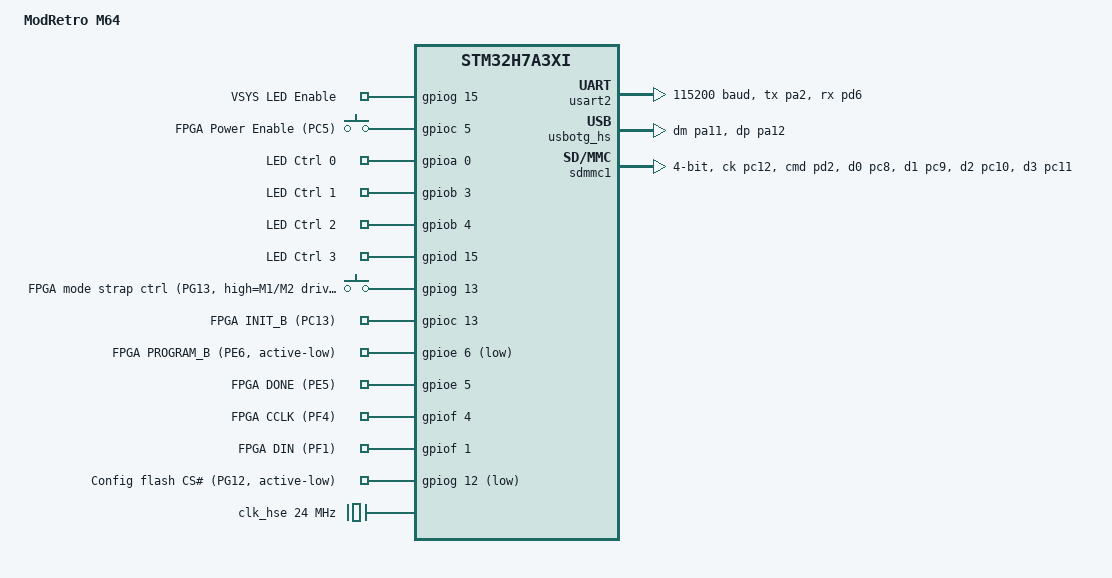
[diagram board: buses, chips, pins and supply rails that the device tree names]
/*
 * SPDX-License-Identifier: Apache-2.0
 *
 * ModRetro M64 board devicetree.
 * SoC: STM32H7A3ZIT6 (LQFP144).
 *
 */

/dts-v1/;

/* Base SoC devicetree for the STM32H7A3xI (2 MB flash) family. */
#include <st/h7/stm32h7a3Xi.dtsi>
/* Pin control definitions for the ZI (LQFP144) package.
 * Non-Q (without-SMPS) variant: this is the STM32H7A3ZIT6 pinout that exposes
 * PF0-PF15 and PG0-PG15 (the SMPS supply pins are reassigned as GPIO.)
 */
#include <st/h7/stm32h7a3z(g-i)tx-pinctrl.dtsi>

#include <zephyr/dt-bindings/gpio/gpio.h>
#include <zephyr/dt-bindings/input/input-event-codes.h>

/ {
	model = "ModRetro M64";
	compatible = "modretro,m64";

	chosen {
		/*
		 * Primary console (printk, logs, boot banner, faults) on the
		 * USB CDC-ACM port. USART2 remains available as a wired backup
		 * but is no longer the chosen console.
		 */
		zephyr,console = &cdc_acm_uart0;
		zephyr,shell-uart = &cdc_acm_uart0;
		zephyr,sram = &sram0;
		zephyr,flash = &flash0;
		/* Place code tagged __itcm_section in zero-wait-state ITCM
		 * (used for the cycle-tight WS2812 bit-bang). */
		zephyr,itcm = &itcm;
	};

	/*
	 * Board-specific general-purpose GPIOs (Option B: custom node,
	 * driven directly via GPIO_DT_SPEC_GET(DT_NODELABEL(...), gpios)).
	 */
	m64_gpios {
		compatible = "gpio-keys";
		// Power domain enables
		vsys_led_on: vsys_led_on {
			gpios = <&gpiog 15 GPIO_ACTIVE_HIGH>;
			label = "VSYS LED Enable";
		};
		fpga_pwr_en: fpga_pwr_en {
			gpios = <&gpioc 5 GPIO_ACTIVE_HIGH>;
			label = "FPGA Power Enable (PC5)";
		};

		// LEDs
		ctrl_led_data_0: ctrl_led_data_0 {
			gpios = <&gpioa 0 GPIO_ACTIVE_HIGH>;
			label = "LED Ctrl 0";
		};
		ctrl_led_data_1: ctrl_led_data_1 {
			gpios = <&gpiob 3 GPIO_ACTIVE_HIGH>;
			label = "LED Ctrl 1";
		};
		ctrl_led_data_2: ctrl_led_data_2 {
			gpios = <&gpiob 4 GPIO_ACTIVE_HIGH>;
			label = "LED Ctrl 2";
		};
		ctrl_led_data_3: ctrl_led_data_3 {
			gpios = <&gpiod 15 GPIO_ACTIVE_HIGH>;
			label = "LED Ctrl 3";
		};

		// FPGA interface
		fpga_ss_boot_ctrl: fpga_ss_boot_ctrl {
			gpios = <&gpiog 13 GPIO_ACTIVE_HIGH>;
			label = "FPGA mode strap ctrl (PG13, high=M1/M2 driven to 1V8 => M[2:0]=111)";
		};
		fpga_init_b: fpga_init_b {
			gpios = <&gpioc 13 GPIO_ACTIVE_HIGH>;
			label = "FPGA INIT_B (PC13)";
		};
		fpga_program_b: fpga_program_b {
			gpios = <&gpioe 6 GPIO_ACTIVE_LOW>;
			label = "FPGA PROGRAM_B (PE6, active-low)";
		};
		fpga_done: fpga_done {
			gpios = <&gpioe 5 GPIO_ACTIVE_HIGH>;
			label = "FPGA DONE (PE5)";
		};

		/*
		 * Slave-Serial configuration clock/data, bit-banged as plain
		 * GPIOs (temporary bring-up). CCLK=PF4, DIN=PF0. Bitstream is
		 * shifted MSB-first, one bit per CCLK rising edge.
		 */
		fpga_cclk: fpga_cclk {
			gpios = <&gpiof 4 GPIO_ACTIVE_HIGH>;
			label = "FPGA CCLK (PF4)";
		};
		fpga_din: fpga_din {
			gpios = <&gpiof 1 GPIO_ACTIVE_HIGH>;
			label = "FPGA DIN (PF1)";
		};

		/*
		 * Config flash chip-select (PG12 = OCTOSPI2 NCS). The bitstream
		 * flash shares the CCLK/DIN bus with the FPGA's Slave-Serial
		 * input, so it must be DESELECTED (CS# high) during FPGA config
		 * to keep it off the shared IO0/DIN line. Active-low.
		 */
		flash_cs: flash_cs {
			gpios = <&gpiog 12 GPIO_ACTIVE_LOW>;
			label = "Config flash CS# (PG12, active-low)";
		};
	};
};

/*
 * Clock tree.
 *
 * HSE: 24 MHz passive crystal across PH0-OSC_IN / PH1-OSC_OUT (no bypass).
 * PLL1: 24 MHz / M=12 = 2 MHz ref; xN=280 -> VCO 560 MHz; /P=2 -> 280 MHz SYSCLK.
 */
&clk_hse {
	clock-frequency = <DT_FREQ_M(24)>;
	status = "okay";
};

&clk_hsi48 {
	/* 48 MHz RC, useful for USB/RNG. */
	status = "okay";
};

&pll {
	div-m = <12>;
	mul-n = <280>;
	div-p = <2>;
	div-q = <2>;
	div-r = <2>;
	clocks = <&clk_hse>;
	status = "okay";
};

/*
 * PLL2 provides the 48 MHz SDMMC1 kernel clock (via PLL2R).
 *
 * HSE 24 MHz / M=4 = 6 MHz ref; xN=80 -> VCO 480 MHz; /R=10 -> 48 MHz.
 * (P and Q are unused here but must be valid dividers.)
 */
&pll2 {
	div-m = <4>;
	mul-n = <80>;
	div-p = <2>;
	div-q = <2>;
	div-r = <10>;
	clocks = <&clk_hse>;
	status = "okay";
};

&rcc {
	clocks = <&pll>;
	clock-frequency = <DT_FREQ_M(280)>;
	d1cpre = <1>;
	hpre = <1>;
	d1ppre = <2>;
	d2ppre1 = <2>;
	d2ppre2 = <2>;
	d3ppre = <2>;
};

/*
 * Shell / boot-log / console UART.
 *
 * USART2: TX = PA2, RX = PD6 (per M64 schematic).
 */
&usart2 {
	pinctrl-0 = <&usart2_tx_pa2 &usart2_rx_pd6>;
	pinctrl-names = "default";
	current-speed = <115200>;
	status = "okay";
};

/*
 * USB OTG HS running on the internal full-speed PHY (PA11/PA12).
 *
 * This is the same connector used for ROM-bootloader DFU. Full-speed
 * (12 Mbit/s) is ample for a CDC-ACM console. Inherits the SoC-default
 * clocks (AHB1 USB1OTGHSEN + HSI48) and the internal usb-nop-xceiv PHY.
 *
 * NOTE: The external USB3300 ULPI HS PHY is on a separate port and is not
 * used here; switch back to it if Hi-Speed throughput is needed later.
 */
zephyr_udc0: &usbotg_hs {
	pinctrl-0 = <&usb_otg_hs_dm_pa11 &usb_otg_hs_dp_pa12>;
	pinctrl-names = "default";
	status = "okay";

	cdc_acm_uart0: cdc_acm_uart0 {
		compatible = "zephyr,cdc-acm-uart";
	};
};

/*
 * SD card on SDMMC1 (4-bit bus).
 *
 *   CK  = PC12   CMD = PD2
 *   D0  = PC8    D1  = PC9    D2  = PC10   D3  = PC11
 *   DET = PE15 (card-detect, active-low: pulled low when a card is present)
 *
 * The SDMMC kernel clock is provided by the SoC default; adjust the RCC
 * domain-clock source here if the card fails to initialise.
 */
&sdmmc1 {
	pinctrl-0 = <&sdmmc1_ck_pc12 &sdmmc1_cmd_pd2
		     &sdmmc1_d0_pc8 &sdmmc1_d1_pc9
		     &sdmmc1_d2_pc10 &sdmmc1_d3_pc11>;
	pinctrl-names = "default";
	/* AHB3 bus-clock gate + 48 MHz kernel clock from PLL2R (SDMMC_SEL=1). */
	clocks = <&rcc STM32_CLOCK_BUS_AHB3 0x00010000>,
		 <&rcc STM32_SRC_PLL2_R SDMMC_SEL(1)>;
	cd-gpios = <&gpioe 15 GPIO_ACTIVE_LOW>;
	bus-width = <4>;
	/* Card clock = SDMMCCLK / (2 * clk-div) = 48 MHz / 8 = 6 MHz.
	 * The card is unreliable at full speed on this layout; 6 MHz is
	 * stable. Lower clk-div (toward 0) to go faster if margins allow. */
	clk-div = <4>;
	disk-name = "SD";
	status = "okay";
};
